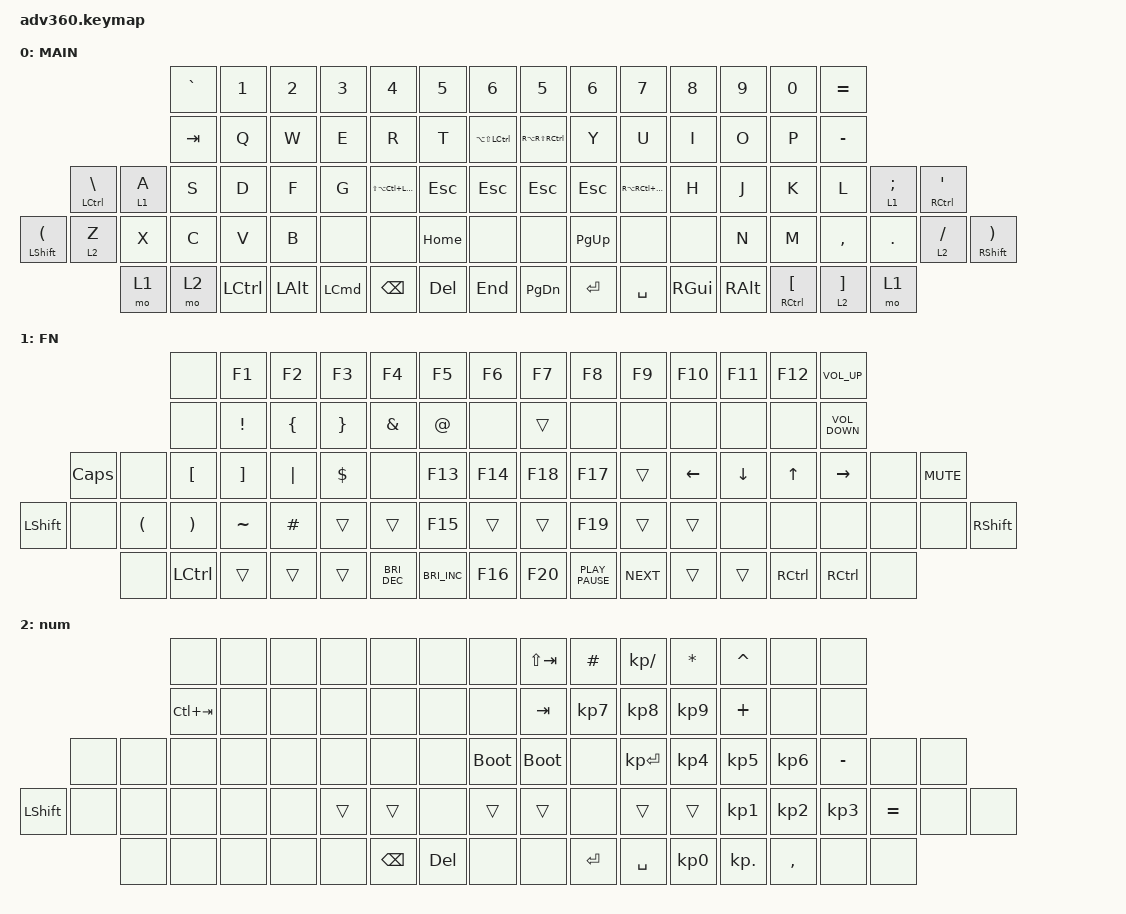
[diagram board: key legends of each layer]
#include <behaviors.dtsi>
#include <dt-bindings/zmk/keys.h>

/ {
    behaviors {
        #include "macros.dtsi"

        hm: homerow_mods {
            compatible = "zmk,behavior-hold-tap";
            label = "HOMEROW_MODS";
            #binding-cells = <2>;
            tapping-term-ms = <200>;
            quick_tap_ms = <175>;
            flavor = "tap-preferred";
            bindings =
                <&kp>,
                <&kp>;
        };
    };

    keymap {
        compatible = "zmk,keymap";

        MAIN {
            bindings = <
                       &kp GRAVE   &kp N1     &kp N2        &kp N3    &kp N4         &kp N5              &kp NUMBER_6       &kp NUMBER_5     &kp N6     &kp N7     &kp N8         &kp N9         &kp N0                  &kp EQUAL
                         &kp TAB    &kp Q      &kp W         &kp E     &kp R          &kp T         &kp LA(LS(LCTRL))  &kp RA(RS(RCTRL))      &kp Y      &kp U      &kp I          &kp O          &kp P                  &kp MINUS
             &mt LCTRL BACKSLASH  &lt 1 A      &kp S         &kp D     &kp F          &kp G  &kp LS(LA(LC(LEFT_GUI)))         &kp ESCAPE    &kp ESC                              &kp ESC     &kp ESCAPE  &kp RA(RC(RS(RIGHT_GUI)))                &kp H   &kp J      &kp K    &kp L  &lt 1 SEMI       &mt RCTRL SINGLE_QUOTE
 &mt LEFT_SHIFT LEFT_PARENTHESIS  &lt 2 Z      &kp X         &kp C     &kp V          &kp B                     &none              &none   &kp HOME      &none      &none      &kp PG_UP          &none                      &none                &kp N   &kp M  &kp COMMA  &kp DOT  &lt 2 FSLH  &mt RSHFT RIGHT_PARENTHESIS
                           &mo 1    &mo 2  &kp LCTRL  &kp LEFT_ALT  &kp LCMD  &kp BACKSPACE                   &kp DEL            &kp END  &kp PG_DN  &kp ENTER  &kp SPACE  &kp RIGHT_GUI  &kp RIGHT_ALT     &mt RCTRL LEFT_BRACKET  &lt 2 RIGHT_BRACKET   &mo 1
            >;
        };

        FN {
            bindings = <
          &none     &kp F1                &kp F2                 &kp F3         &kp F4                &kp F5                &kp F6   &kp F7   &kp F8            &kp F9     &kp F10  &kp F11  &kp F12       &kp C_VOL_UP
          &none   &kp EXCL        &kp LEFT_BRACE        &kp RIGHT_BRACE  &kp AMPERSAND                &kp AT                 &none   &trans    &none             &none       &none    &none    &none  &kp C_VOLUME_DOWN
   &kp CAPSLOCK      &none      &kp LEFT_BRACKET      &kp RIGHT_BRACKET       &kp PIPE            &kp DOLLAR                 &none  &kp F13  &kp F14                                &kp F18  &kp F17             &trans   &kp LEFT  &kp DOWN  &kp UP  &kp RIGHT   &none       &kp K_MUTE
 &kp LEFT_SHIFT      &none  &kp LEFT_PARENTHESIS  &kp RIGHT_PARENTHESIS      &kp TILDE              &kp HASH                &trans   &trans  &kp F15            &trans      &trans  &kp F19   &trans             &trans      &none     &none   &none      &none   &none  &kp RIGHT_SHIFT
          &none  &kp LCTRL                &trans                 &trans         &trans  &kp C_BRIGHTNESS_DEC  &kp C_BRIGHTNESS_INC  &kp F16  &kp F20  &kp K_PLAY_PAUSE  &kp K_NEXT   &trans   &trans          &kp RCTRL  &kp RCTRL     &none
            >;
        };

        num {
            bindings = <
          &none   &none   &none   &none   &none          &none       &none  &kp LS(TAB)     &kp HASH  &kp KP_DIVIDE  &kp ASTRK        &kp CARET       &none         &none
    &kp LC(TAB)   &none   &none   &none   &none          &none       &none      &kp TAB    &kp KP_N7      &kp KP_N8  &kp KP_N9         &kp PLUS       &none         &none
          &none   &none   &none   &none   &none          &none       &none        &none  &bootloader                                &bootloader       &none  &kp KP_ENTER  &kp KP_N4  &kp KP_N5  &kp KP_N6  &kp MINUS   &none   &none
 &kp LEFT_SHIFT   &none   &none   &none   &none          &none      &trans       &trans        &none         &trans     &trans            &none      &trans        &trans  &kp KP_N1  &kp KP_N2  &kp KP_N3  &kp EQUAL   &none   &none
          &none   &none   &none   &none   &none  &kp BACKSPACE  &kp DELETE        &none        &none        &kp RET  &kp SPACE  &kp KP_NUMBER_0  &kp KP_DOT     &kp COMMA      &none      &none
            >;
        };
    };
};
